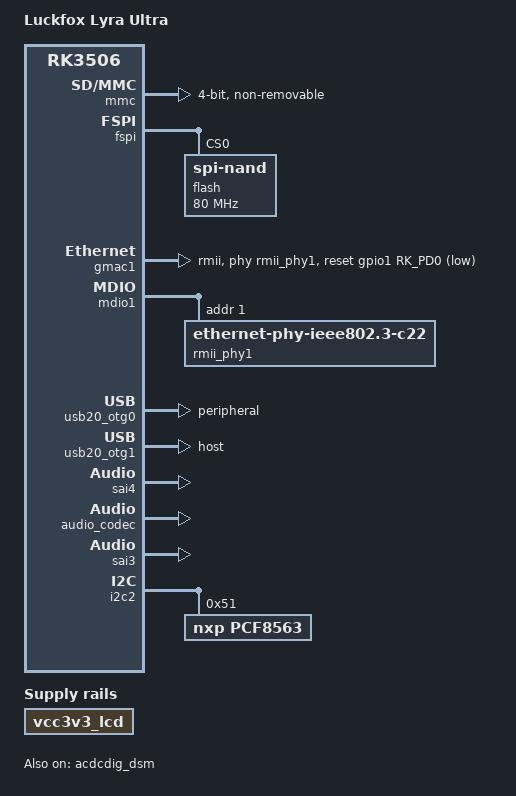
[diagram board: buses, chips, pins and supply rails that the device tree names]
// SPDX-License-Identifier: (GPL-2.0+ OR MIT)
/* Luckfox Lyra Ultra / Ultra PoE Kit, non-W variant. */
/dts-v1/;

#include "rk3506-luckfox-lyra-ultra.dtsi"

/ {
	model = "Luckfox Lyra Ultra";
	compatible = "rockchip,rk3506g-demo-display-control", "rockchip,rk3506";

	dsm_sound: dsm-sound {
		status = "okay";
		compatible = "simple-audio-card";
		simple-audio-card,format = "i2s";
		simple-audio-card,mclk-fs = <256>;
		simple-audio-card,name = "rockchip-dsm-sound";
		simple-audio-card,bitclock-master = <&dsm_master>;
		simple-audio-card,frame-master = <&dsm_master>;
		simple-audio-card,cpu { sound-dai = <&sai3>; };
		dsm_master: simple-audio-card,codec { sound-dai = <&acdcdig_dsm>; };
	};

	vcc3v3_lcd: vcc3v3-lcd {
		status = "okay";
		compatible = "regulator-fixed";
		pinctrl-names = "default";
		pinctrl-0 = <&lcd_pwren_h>;
		regulator-name = "vcc3v3_lcd";
		regulator-always-on;
	};
};

&mmc {
	max-frequency = <52000000>;
	mmc-ddr-1_8v;
	bus-width = <4>;
	supports-emmc;
	cap-mmc-highspeed;
	disable-wp;
	non-removable;
	pinctrl-names = "default";
	pinctrl-0 = <&sdmmc_clk_pins &sdmmc_cmd_pins &sdmmc_bus4_pins>;
	status = "okay";
};

&fspi {
	status = "okay";
	flash@0 {
		compatible = "spi-nand";
		reg = <0>;
		spi-max-frequency = <80000000>;
		spi-rx-bus-width = <4>;
		spi-tx-bus-width = <1>;
	};
};

/* No DSI panel is fitted on the tested Ultra PoE Kit. */
&dsi { status = "disabled"; };
&dsi_dphy { status = "disabled"; };
&dsi_in_vop { status = "disabled"; };
&route_dsi { status = "disabled"; };
&dsi_panel { status = "disabled"; };

&gmac1 {
	phy-mode = "rmii";
	clock_in_out = "output";
	snps,reset-gpio = <&gpio1 RK_PD0 GPIO_ACTIVE_LOW>;
	snps,reset-active-low;
	snps,reset-delays-us = <0 20000 100000>;
	pinctrl-names = "default";
	pinctrl-0 = <&eth_rmii1_miim_pins &eth_rmii1_tx_bus2_pins
			    &eth_rmii1_rx_bus2_pins &eth_rmii1_clk_pins>;
	phy-handle = <&rmii_phy1>;
	status = "okay";
};

&mdio1 {
	rmii_phy1: phy@1 {
		compatible = "ethernet-phy-ieee802.3-c22";
		reg = <0x1>;
	};
};

/* Non-W hardware: USB-C is peripheral, USB-A is host. */
&usb20_otg0 {
	dr_mode = "peripheral";
	status = "okay";
};

&usb20_otg1 {
	dr_mode = "host";
	status = "okay";
};

&sai4 { status = "okay"; };
&audio_codec { status = "okay"; };
&sai3 {
	status = "okay";
	pinctrl-names = "default";
	pinctrl-0 = <&sai3_mclk_pins>;
};

&acdcdig_dsm {
	rockchip,dsm-audm-en = <0x2>;
	pa-ctl-gpios = <&gpio1 RK_PC6 GPIO_ACTIVE_HIGH>;
	status = "okay";
};

&i2c2 {
	pcf8563: pcf8563@51 {
		status = "okay";
		compatible = "nxp,pcf8563";
		reg = <0x51>;
		#clock-cells = <0>;
	};
};

&pinctrl {
	lcd {
		lcd_pwren_h: lcd-pwren-h {
			rockchip,pins = <1 RK_PC4 RK_FUNC_GPIO &pcfg_pull_up>;
		};
	};

	acodec-dsm {
		/omit-if-no-ref/
		dsm_spk_ctrl: dsm-spk-ctrl {
			rockchip,pins = <1 RK_PC6 RK_FUNC_GPIO &pcfg_pull_none>;
		};
	};

	dsm_aud {
		/omit-if-no-ref/
		dsm_audm1_pins: dsm-audm1-pins {
			rockchip,pins = <2 RK_PB4 2 &pcfg_pull_none>,
					<2 RK_PB5 2 &pcfg_pull_none>;
		};
		/omit-if-no-ref/
		dsm_audm1_iodown_pins: dsm-audm1-iodown-pins {
			rockchip,pins = <2 RK_PB4 RK_FUNC_GPIO &pcfg_pull_down>,
					<2 RK_PB5 RK_FUNC_GPIO &pcfg_pull_down>;
		};
	};
};
